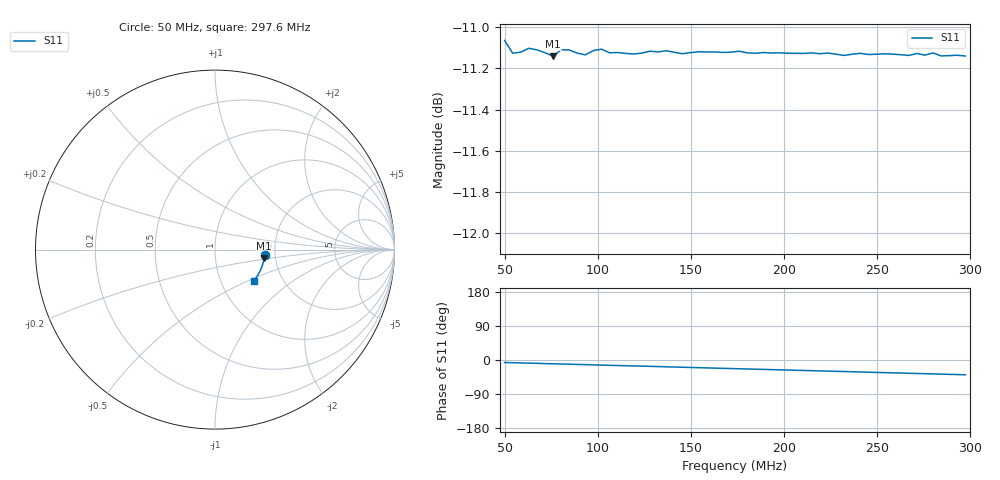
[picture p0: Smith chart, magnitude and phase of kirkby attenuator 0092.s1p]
! This is a Touchstone .s1p format file
! It should be saved with .s1p extension
! HEWLETT PACKARD,8720D,0,7.74
! Date = 21 Mar 2018
! Time = 01:37:42
! S11 measured = FALSE
! S21 measured = FALSE
! S12 measured = FALSE
! S22 measured = TRUE
! Start frequency = 0.050000000 GHz
! Centre frequency  = 3.524999936 GHz
! Stop frequency  = 7.000000000 GHz
! IF bandwidth = 300 Hz
! Smoothing = OFF
! Smoothing aperture = 1.000000 %
! Averaging = OFF
! Averaging factor = 16
! Source power = On
! Source power = Auto mode
! Output power level = 5.000000 dBm
! Retrace power = Off
! Testset switching = Continuous
! Number of sweeps for test set switching (0=hold, 1=continuous,2-999 = number of sweeps) = 1
! Step sweep = On (check)
! List frequency sweep = Off (check)
! IFBW setting for a list-frequency table in swept list mode = Disabled (Check)
! Power setting for a list-frequency table in swept list mode = Disabled (Check)
! Measurement mode = Chop A and B
! Port extensions = OFF
! Port extension 1 = 0.000000 ps
! Port extension 2 = 57.970000 ps
! Points  = 1601
! Calibration kit = 3.5 mm D
! Power = 5.000000 dBm
! Frequency magS22 angS22
! Magnitudes are in log form
! Angles are in degrees
# MHz S DB R 50
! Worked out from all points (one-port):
!   58 points, 50 MHz to 297.6 MHz, reference 50 ohm
!   lowest |S11| = -11.1 dB at 76.06 MHz (marker M1), VSWR 1.77, Z = 87 - j9.09 ohm
!   |S11| at or under -10 dB: start of sweep to end of sweep
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50  -11.06 -6.6
54.34375  -11.13 -7.1
63.03125  -11.10 -8.4
67.375  -11.11 -8.7
71.71875  -11.12 -9.5
76.0625  -11.14 -10.0
80.40625  -11.11 -10.6
84.75  -11.11 -11.0
89.09375  -11.13 -11.7
93.4375  -11.13 -12.2
97.78125  -11.11 -13.0
102.125  -11.11 -13.5
106.4688  -11.12 -14.1
110.8125  -11.12 -14.5
115.1562  -11.13 -15.1
128.1875  -11.12 -16.7
136.875  -11.11 -18.0
145.5625  -11.13 -19.1
175.9688  -11.12 -23.1
184.6562  -11.13 -24.3
206.375  -11.13 -27.1
236.7812  -11.13 -31.0
241.125  -11.13 -31.6
267.1875  -11.14 -35.0
275.875  -11.14 -36.2
280.2188  -11.12 -36.7
284.5625  -11.14 -37.3
297.5938  -11.14 -38.9
